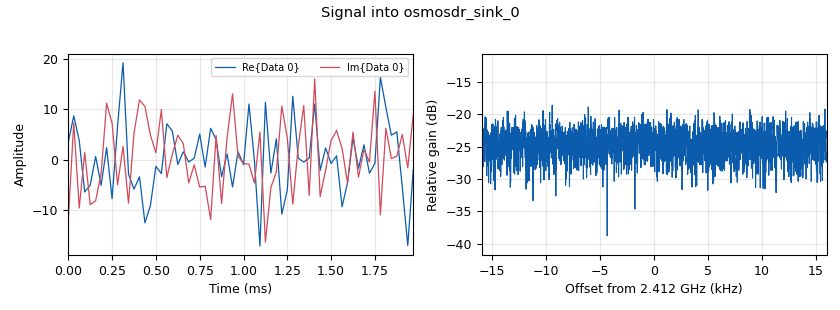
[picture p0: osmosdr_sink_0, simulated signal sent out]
options:
  parameters:
    generate_options: qt_gui
    id: untitled
    output_language: python
    title: Not titled yet
  states: {}

blocks:
- name: current_freq
  id: variable
  parameters:
    value: sweeper.sweep(fun_prob)
  states: {}
- name: fun_prob
  id: variable_function_probe
  parameters:
    block_id: probSign
    function_name: level
    poll_rate: '150'
    value: '0'
  states: {}
- name: samp_rate
  id: variable
  parameters:
    value: '32000'
  states: {}
- name: analog_noise_source_x_0
  id: analog_noise_source_x
  parameters:
    amp: '10'
    noise_type: analog.GR_GAUSSIAN
    seed: '0'
    type: complex
  states: {}
- name: analog_sig_source_x_0
  id: analog_sig_source_x
  parameters:
    amp: '1'
    freq: '0'
    offset: '0'
    phase: '0'
    samp_rate: samp_rate
    type: complex
    waveform: analog.GR_CONST_WAVE
  states: {}
- name: osmosdr_sink_0
  id: osmosdr_sink
  parameters:
    bb_gain0: '30'
    bw0: 24e6
    freq0: current_freq
    gain0: '40'
    if_gain0: '30'
    sample_rate: samp_rate
    sync: sync
    time_source0: gpsdo
    type: fc32
  states: {}
- name: probSign
  id: blocks_probe_signal_x
  parameters:
    type: complex
  states: {}
- name: sweeper
  id: epy_module
  parameters:
    source_code: |
      from gnuradio import gr

      chan1 = 2412e6
      chan13 = 2472e6

      step = 15e6

      curr_chan = chan1

      def sweep(prob_lvl):
          global chan1,chan13,step,curr_chan

          if prob_lvl:
              curr_chan += step

          if curr_chan >= chan13:
              curr_chan = chan1

          return curr_chan
  states: {}

connections:
- [analog_noise_source_x_0, '0', osmosdr_sink_0, '0']
- [analog_sig_source_x_0, '0', probSign, '0']

metadata:
  file_format: 1
  grc_version: 3.10.4.0
